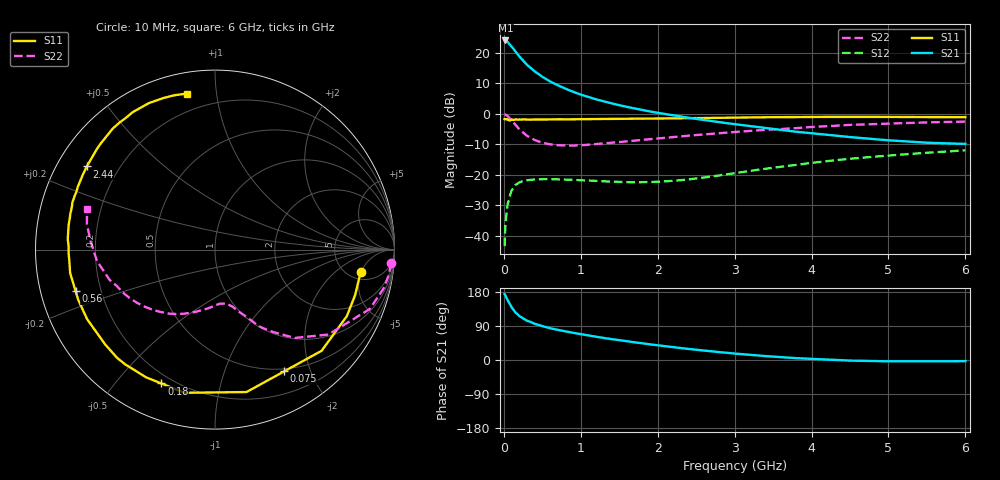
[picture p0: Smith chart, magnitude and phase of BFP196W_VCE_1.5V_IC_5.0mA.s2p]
! Infineon Technologies  Discrete & RF Semiconductors
! BFP196W
! VCE = 1.5 V,  IC = 5.0mA
! Common Emitter S-Parameters:  Jan 2016
# GHz  S  MA  R  50
!  f  S11  S21  S12  S22
! GHz  MAG  ANG  MAG  ANG  MAG  ANG  MAG  ANG
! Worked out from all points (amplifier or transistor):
!   210 points, 10 MHz to 6 GHz, reference 50 ohm
!   highest |S21| = 24.1 dB at 20 MHz (marker M1)
!   |S21| within 3 dB of that: start of sweep to 133 MHz
!   unconditionally stable (mu >= 1): 1.411 GHz to 3.333 GHz; 5.845 GHz to end of sweep
!   at 185 MHz: K = 0.14, MSG = 21.1 dB, |S12| = -22.7 dB
!   at 1.52 GHz: K = 1.07, MAG = 10.9 dB, |S12| = -22.3 dB
!   at 6 GHz: K = 1.01, MAG = 0.5 dB, |S12| = -11.9 dB
!   S11 on the Smith chart (normalised r, x): 10 MHz: 6.29, -4.90; 75 MHz: 0.47, -1.62; 180 MHz: 0.16, -0.67; 560 MHz: 0.11, -0.14; 2.44 GHz: 0.09, +0.29; 6 GHz: 0.10, +0.83
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0.01  0.8209 -8.9  15.78 173.8  0.0068 84.4  0.9852 -4.4
0.02  0.821 -18.0  15.98 170.6  0.0142 81.4  0.9774 -8.7
0.03  0.8227 -26.9  15.77 166.2  0.0205 77.0  0.9644 -12.9
0.05  0.8189 -43.5  15.18 157.1  0.0331 68.8  0.9235 -21.0
0.075  0.7802 -60.4  13.82 148.8  0.0436 58.2  0.8481 -28.3
0.1  0.8128 -77.5  12.81 138.9  0.0551 51.8  0.789 -36.9
0.15  0.8157 -102.0  10.65 125.5  0.0685 40.4  0.6633 -47.9
0.18  0.8034 -111.8  9.499 120.3  0.0724 35.6  0.6016 -51.8
0.2  0.8085 -118.4  8.784 116.1  0.0753 32.7  0.5622 -54.8
0.24  0.8118 -128.0  7.717 110.8  0.0786 28.3  0.5076 -59.0
0.3  0.8085 -139.2  6.39 103.8  0.0819 23.5  0.4382 -63.2
0.4  0.8111 -151.5  4.975 95.5  0.0843 18.4  0.3737 -68.6
0.56  0.8103 -163.5  3.662 86.2  0.0853 14.0  0.325 -74.3
0.8  0.8137 -174.9  2.582 75.4  0.0838 11.7  0.3035 -81.7
1.02  0.8171 178.1  2.034 67.4  0.0815 11.5  0.3076 -88.4
1.4  0.827 168.2  1.486 55.1  0.0776 14.6  0.3374 -99.2
2.02  0.8409 154.9  1.031 38.3  0.0775 27.9  0.3977 -116.1
2.44  0.8512 147.0  0.849 28.3  0.0855 37.0  0.4439 -126.9
3.1  0.8713 135.2  0.653 15.4  0.1115 45.2  0.5152 -143.5
4.1  0.8922 119.7  0.47 2.0  0.163 44.7  0.619 -166.2
5.1  0.8912 108.0  0.363 -3.5  0.2123 37.4  0.7001 174.7
6  0.8833 100.3  0.322 -3.0  0.253 30.2  0.7474 162.6
